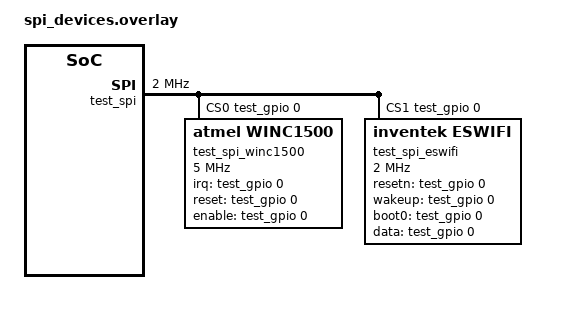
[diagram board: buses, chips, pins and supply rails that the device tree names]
/*
 * Copyright (c) 2024 TOKITA Hiroshi
 * SPDX-License-Identifier: Apache-2.0
 */

/ {
	test {
		#address-cells = <1>;
		#size-cells = <1>;

		test_spi: spi@33334444 {
			compatible = "vnd,spi";
			reg = <0x33334444 0x1000>;
			#address-cells = <1>;
			#size-cells = <0>;
			clock-frequency = <2000000>;

			/* one entry for every devices at spi.dtsi */
			cs-gpios = <&test_gpio 0 0>,
				   <&test_gpio 0 0>,
				   <&test_gpio 0 0>,
				   <&test_gpio 0 0>,
				   <&test_gpio 0 0>;
			status = "okay";

			test_spi_winc1500: winc1500@0 {
				compatible = "atmel,winc1500";
				reg = <0>;
				spi-max-frequency = <5000000>;
				irq-gpios = <&test_gpio 0 0>;
				reset-gpios = <&test_gpio 0 0>;
				enable-gpios = <&test_gpio 0 0>;
				status = "okay";
			};

			test_spi_eswifi: eswifi@1 {
				compatible = "inventek,eswifi";
				reg = <1>;
				spi-max-frequency = <2000000>;
				resetn-gpios = <&test_gpio 0 0>;
				wakeup-gpios = <&test_gpio 0 0>;
				boot0-gpios = <&test_gpio 0 0>;
				data-gpios = <&test_gpio 0 0>;
				status = "okay";
			};
		};

		test_gpio: gpio@deadbeef {
			compatible = "vnd,gpio";
			reg = <0xdeadbeef 0x1000>;
			gpio-controller;
			#gpio-cells = <0x2>;
			status = "okay";
		};
	};
};
